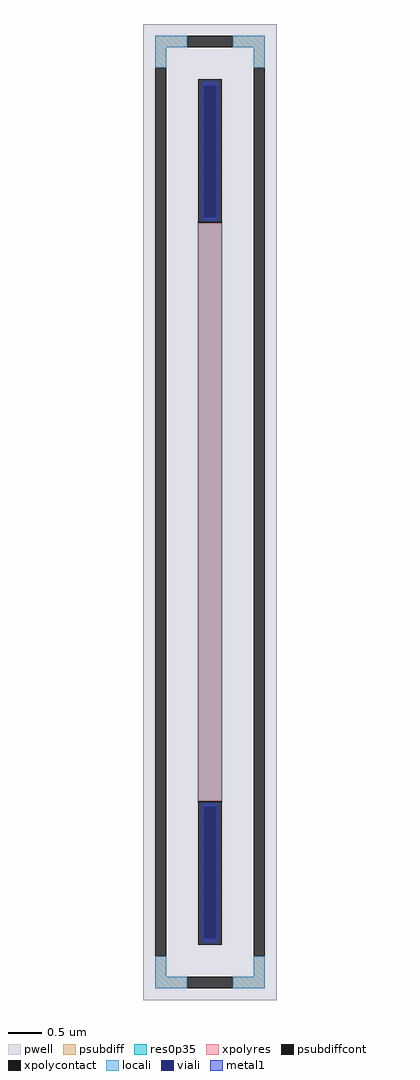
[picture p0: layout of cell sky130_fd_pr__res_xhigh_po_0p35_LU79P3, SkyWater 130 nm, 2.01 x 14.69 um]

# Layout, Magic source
magic
tech sky130A
magscale 1 2
<< pwell >>
rect -201 -1469 201 1469
<< psubdiff >>
rect -165 1399 -69 1433
rect 69 1399 165 1433
rect -165 1337 -131 1399
rect 131 1337 165 1399
rect -165 -1399 -131 -1337
rect 131 -1399 165 -1337
rect -165 -1433 -69 -1399
rect 69 -1433 165 -1399
<< psubdiffcont >>
rect -69 1399 69 1433
rect -165 -1337 -131 1337
rect 131 -1337 165 1337
rect -69 -1433 69 -1399
<< xpolycontact >>
rect -35 871 35 1303
rect -35 -1303 35 -871
<< xpolyres >>
rect -35 -871 35 871
<< locali >>
rect -165 1399 -69 1433
rect 69 1399 165 1433
rect -165 1337 -131 1399
rect 131 1337 165 1399
rect -165 -1399 -131 -1337
rect 131 -1399 165 -1337
rect -165 -1433 -69 -1399
rect 69 -1433 165 -1399
<< viali >>
rect -19 888 19 1285
rect -19 -1285 19 -888
<< metal1 >>
rect -25 1285 25 1297
rect -25 888 -19 1285
rect 19 888 25 1285
rect -25 876 25 888
rect -25 -888 25 -876
rect -25 -1285 -19 -888
rect 19 -1285 25 -888
rect -25 -1297 25 -1285
<< res0p35 >>
rect -37 -873 37 873
<< properties >>
string FIXED_BBOX -148 -1416 148 1416
string gencell sky130_fd_pr__res_xhigh_po_0p35
string library sky130
string parameters w 0.350 l 8.705 m 1 nx 1 wmin 0.350 lmin 0.50 rho 2000 val 50.818k dummy 0 dw 0.0 term 188.2 sterm 0.0 caplen 0 wmax 0.350 guard 1 glc 1 grc 1 gtc 1 gbc 1 compatible {sky130_fd_pr__res_xhigh_po_0p35  sky130_fd_pr__res_xhigh_po_0p69 sky130_fd_pr__res_xhigh_po_1p41  sky130_fd_pr__res_xhigh_po_2p85 sky130_fd_pr__res_xhigh_po_5p73} snake 0 full_metal 1 n_guard 0 hv_guard 0 vias 1 viagb 0 viagt 0 viagl 0 viagr 0
<< end >>
